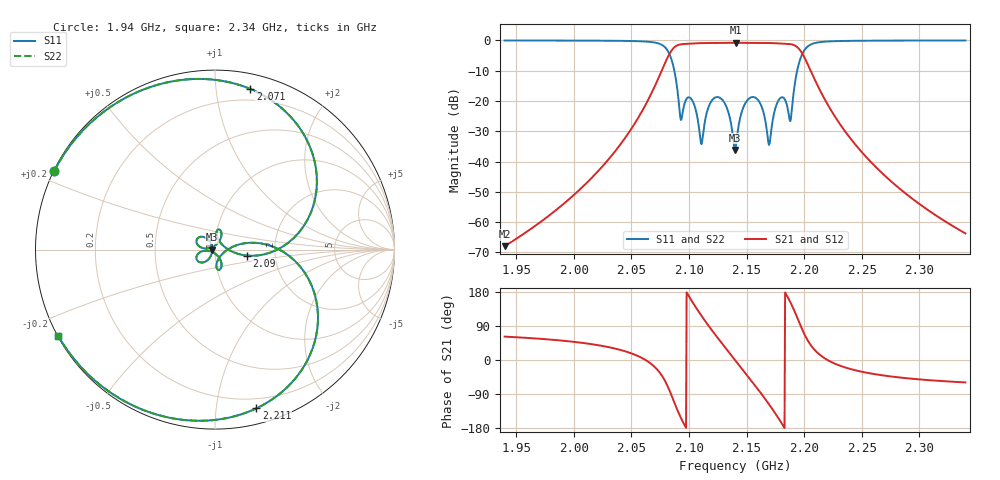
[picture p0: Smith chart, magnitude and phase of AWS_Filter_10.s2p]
!Port 1 is shunt  connected
!Port 2 is shunt  connected
!prototype= pole placed tchebycheff
!n=  5,  np= 0,  rl=  18.000dB
!transform= band pass
!f0= 2140.000MHz,  bw=  100.000MHz, q0= 800.000
!fstart= 1940.000MHz, fstep=  0.500MHz, fstop= 2340.000MHz
# MHZ S MA R 50
!Freq  Mag(S11)  Arg(S11)  Mag(S21)  Arg(S21)  Mag(S12)  Arg(S12)  Mag(S22)  Arg(S22)
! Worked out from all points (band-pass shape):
!   801 points, 1.94 GHz to 2.34 GHz, reference 50 ohm
!   highest |S21| = -0.79 dB at 2.14 GHz (marker M1); lowest = -67.9 dB at 1.94 GHz (marker M2)
!   |S21| within 3 dB of the highest: 2.084 GHz to 2.197 GHz (113.3 MHz wide, 5.29 % of centre)
!   lowest |S11| = -36.2 dB at 2.14 GHz (marker M3), VSWR 1.03, Z = 48.5 - j0.000421 ohm
!   |S11| at or under -10 dB: 2.087 GHz to 2.194 GHz (106.6 MHz wide, 4.98 % of centre)
!   |S22| runs from -36.2 to 0.0 dB; largest |S21 - S12| = 0
!   S11 on the Smith chart (normalised r, x): 1.94 GHz: 0.00, +0.23; 2.071 GHz: 0.11, +1.24; 2.09 GHz: 1.43, -0.10; 2.211 GHz: 0.12, -1.29; 2.34 GHz: 0.00, -0.26
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1940  0.9966 153.8  0.0004007 61.7  0.0004007 61.7  0.9966 153.8
2007  0.9916 138.6  0.003708 45.4  0.003708 45.4  0.9916 138.6
2071  0.9164 77.6  0.1858 -20.5  0.1858 -20.5  0.9164 77.6
2073.5  0.8913 69.9  0.2373 -28.8  0.2373 -28.8  0.8913 69.9
2089.5  0.1797 -10.6  0.8209 -128.6  0.8209 -128.6  0.1797 -10.6
2093.5  0.04952 53.7  0.8631 -155.7  0.8631 -155.7  0.04952 53.7
2100  0.1148 78.3  0.8812 168.1  0.8812 168.1  0.1148 78.3
2110.5  0.01983 106.0  0.9012 118.5  0.9012 118.5  0.01983 106.0
2114.5  0.05302 173.1  0.9037 101.1  0.9037 101.1  0.05302 173.1
2128  0.109 139.5  0.9067 46.5  0.9067 46.5  0.109 139.5
2140  0.01555 -180.0  0.9135 -0.0  0.9135 -0.0  0.01555 -180.0
2140.5  0.01659 -161.3  0.9135 -1.9  0.9135 -1.9  0.01659 -161.3
2150  0.09857 -133.5  0.9089 -38.6  0.9089 -38.6  0.09857 -133.5
2162.5  0.08591 -169.7  0.9059 -87.5  0.9059 -87.5  0.08591 -169.7
2169.5  0.01882 -121.3  0.9042 -116.7  0.9042 -116.7  0.01882 -121.3
2181.5  0.1145 -80.3  0.8836 -171.7  0.8836 -171.7  0.1145 -80.3
2188  0.04641 -38.0  0.8662 152.9  0.8662 152.9  0.04641 -38.0
2194  0.319 3.2  0.7753 112.1  0.7753 112.1  0.319 3.2
2207  0.8744 -64.3  0.2783 34.3  0.2783 34.3  0.8744 -64.3
2210.5  0.9139 -75.3  0.2007 22.4  0.2007 22.4  0.9139 -75.3
2273.5  0.9915 -135.7  0.005087 -42.7  0.005087 -42.7  0.9915 -135.7
2340  0.9966 -151.1  0.0006508 -59.2  0.0006508 -59.2  0.9966 -151.1
